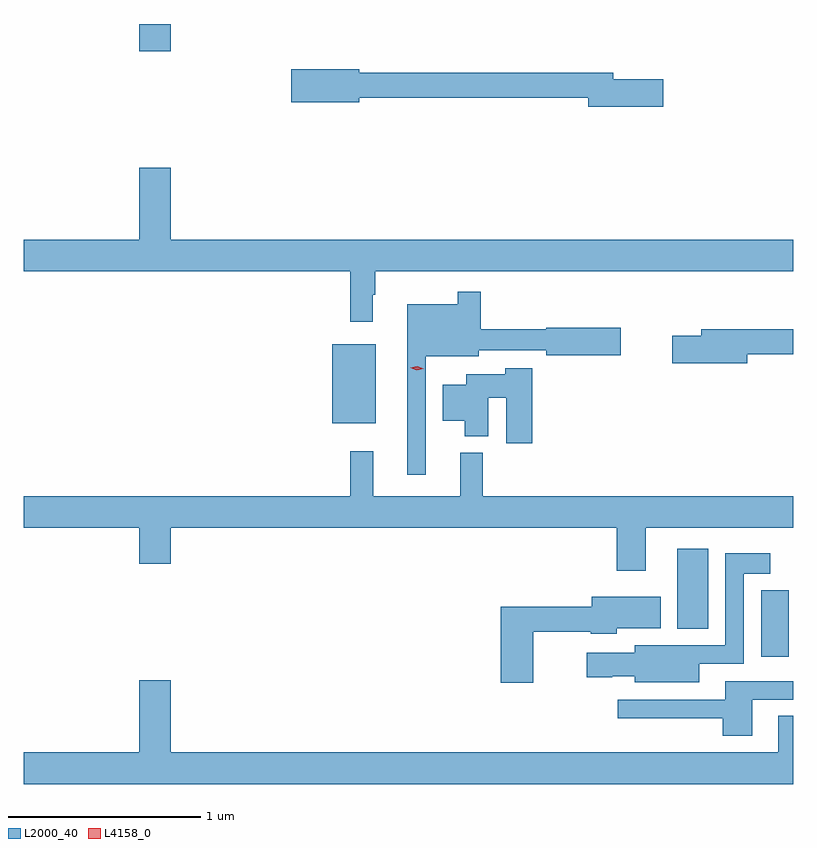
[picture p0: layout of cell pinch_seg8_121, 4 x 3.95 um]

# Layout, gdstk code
import gdstk
lib = gdstk.Library(unit=1e-6, precision=1e-09)
def R(c, l, rs):  # rectangles x0, y0, x1, y1
    for r in rs: c.add(gdstk.rectangle(r[:2], r[2:], *l))
def P(c, l, *ps):  # polygons
    for p in ps: c.add(gdstk.Polygon(p, *l))
L2000_40 = (2000, 40)
L4158_0 = (4158, 0)

pinch_seg8_121 = lib.new_cell('pinch_seg8_121')
R(pinch_seg8_121, L2000_40, [(1055.351,1101.177,1055.494,1101.523), (1054.916,1101.323,1055.077,1101.739), (1053.122,1102.391,1053.349,1102.801), (1052.12,1104.324,1052.284,1104.465)])
P(pinch_seg8_121, L2000_40, [(1054.843,1104.177),(1054.582,1104.177),(1054.582,1104.211),(1053.262,1104.211),(1053.262,1104.229),(1052.91,1104.229),(1052.91,1104.059),(1053.262,1104.059),(1053.262,1104.082),(1054.454,1104.082),(1054.454,1104.035),(1054.843,1104.035)],
  [(1053.334,1103.057),(1053.346,1103.057),(1053.346,1103.18),(1055.519,1103.18),(1055.519,1103.344),(1052.284,1103.344),(1052.284,1103.719),(1052.12,1103.719),(1052.12,1103.344),(1051.519,1103.344),(1051.519,1103.18),(1053.217,1103.18),(1053.217,1102.917),(1053.334,1102.917)],
  [(1053.609,1102.739),(1053.883,1102.739),(1053.883,1102.77),(1054.236,1102.77),(1054.236,1102.745),(1054.621,1102.745),(1054.621,1102.887),(1054.236,1102.887),(1054.236,1102.879),(1053.895,1102.879),(1053.895,1103.074),(1053.774,1103.074),(1053.774,1103.008),(1053.512,1103.008),(1053.512,1102.122),(1053.609,1102.122)],
  [(1055.278,1102.75),(1055.519,1102.75),(1055.519,1102.879),(1055.039,1102.879),(1055.039,1102.845),(1054.89,1102.845),(1054.89,1102.703),(1055.278,1102.703)],
  [(1054.163,1102.675),(1054.021,1102.675),(1054.021,1102.645),(1053.818,1102.645),(1053.818,1102.591),(1053.698,1102.591),(1053.698,1102.403),(1053.812,1102.403),(1053.812,1102.322),(1053.934,1102.322),(1053.934,1102.523),(1054.028,1102.523),(1054.028,1102.287),(1054.163,1102.287)],
  [(1054.753,1101.848),(1055.519,1101.848),(1055.519,1102.012),(1053.905,1102.012),(1053.905,1102.237),(1053.788,1102.237),(1053.788,1102.012),(1053.335,1102.012),(1053.335,1102.246),(1053.217,1102.246),(1053.217,1102.012),(1051.519,1102.012),(1051.519,1101.848),(1052.12,1101.848),(1052.12,1101.66),(1052.284,1101.66),(1052.284,1101.848),(1054.601,1101.848),(1054.601,1101.624),(1054.753,1101.624)],
  [(1055.029,1101.141),(1055.262,1101.141),(1055.262,1101.608),(1055.398,1101.608),(1055.398,1101.715),(1055.166,1101.715),(1055.166,1101.237),(1054.92,1101.237),(1054.92,1101.238),(1054.694,1101.238),(1054.694,1101.199),(1054.446,1101.199),(1054.446,1101.07),(1054.578,1101.07),(1054.578,1101.077),(1054.694,1101.077),(1054.694,1101.044),(1055.029,1101.044)],
  [(1054.168,1101.307),(1054.465,1101.307),(1054.465,1101.296),(1054.602,1101.296),(1054.602,1101.326),(1054.831,1101.326),(1054.831,1101.49),(1054.472,1101.49),(1054.472,1101.436),(1053.998,1101.436),(1053.998,1101.042),(1054.168,1101.042)],
  [(1055.519,1100.87),(1055.441,1100.87),(1055.441,1100.68),(1052.284,1100.68),(1052.284,1101.055),(1052.12,1101.055),(1052.12,1100.68),(1051.519,1100.68),(1051.519,1100.516),(1055.519,1100.516)],
  [(1055.305,1100.955),(1055.519,1100.955),(1055.519,1101.051),(1055.165,1101.051),(1055.165,1100.955),(1054.605,1100.955),(1054.605,1100.858),(1055.153,1100.858),(1055.153,1100.766),(1055.305,1100.766)])
P(pinch_seg8_121, L4158_0, [(1053.563,1102.666),(1053.528,1102.679),(1053.527,1102.679),(1053.528,1102.679),(1053.564,1102.686),(1053.599,1102.674),(1053.599,1102.674),(1053.599,1102.674)])

lib.write_gds('pinch_seg8_121.gds')
